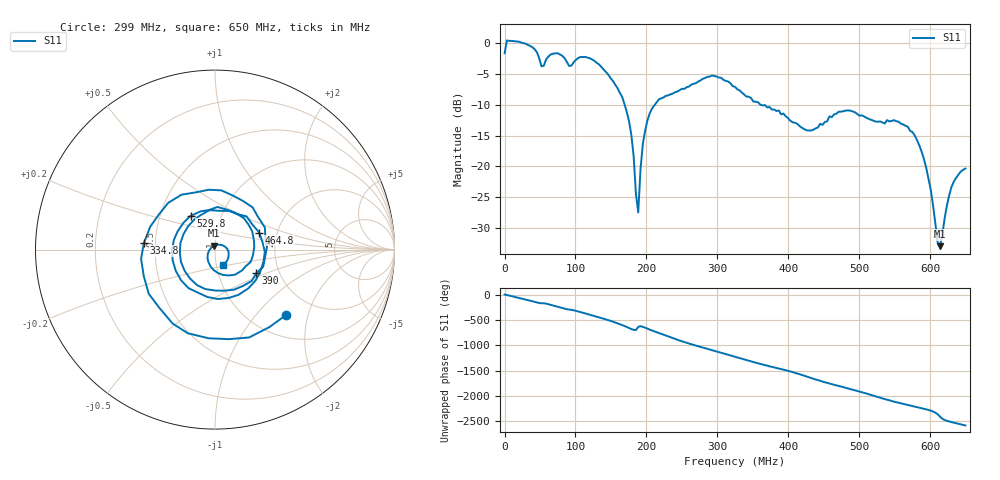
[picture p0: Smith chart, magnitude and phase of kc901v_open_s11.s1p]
! kcsdi-rs S-parameters. Source calibration is unchanged.
# Hz S RI R 50
! Hz ReS11 ImS11
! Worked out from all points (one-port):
!   201 points, 5 kHz to 650 MHz, reference 50 ohm
!   lowest |S11| = -33.0 dB at 614.3 MHz (marker M1), VSWR 1.05, Z = 49.2 + j2.07 ohm
!   |S11| at or under -10 dB: 169.4 MHz to 211.7 MHz (42.28 MHz wide, 22.2 % of centre); 361.6 MHz to end of sweep
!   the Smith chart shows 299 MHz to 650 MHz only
!   S11 on the Smith chart (normalised r, x): 299 MHz: 1.43, -1.46; 334.8 MHz: 0.43, +0.04; 390 MHz: 1.52, -0.43; 464.8 MHz: 1.61, +0.33; 529.8 MHz: 0.71, +0.28; 650 MHz: 1.08, -0.18
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5000  0.8316 0.00974
9754925  0.8932 -0.5452
2.925478e7  -0.1056 -0.9903
4.225468e7  -0.7123 -0.5468
6.175452e7  -0.7692 0.135
8.125438e7  -0.0721 0.7902
1.105042e8  0.7734 0.0189
1.30004e8  0.173 -0.6715
1.462539e8  -0.4494 -0.3283
1.625038e8  -0.2828 0.278
1.885036e8  0.00515 0.042
2.015034e8  0.1594 0.1754
2.275032e8  -0.000208 -0.3746
2.437531e8  -0.4016 -0.0612
2.697529e8  0.1399 0.4533
2.990027e8  0.3957 -0.3645
3.250025e8  -0.3693 -0.2458
3.347524e8  -0.3962 0.0365
3.575022e8  0.0349 0.3301
3.90002e8  0.2293 -0.1325
4.062519e8  0.00516 -0.2285
4.290017e8  -0.1929 0.0353
4.647514e8  0.2467 0.0952
4.875012e8  0.1309 -0.2521
5.297509e8  -0.1362 0.1876
5.687506e8  0.1985 -0.069
6.142503e8  -0.00803 0.021
6.5e8  0.0449 -0.085
